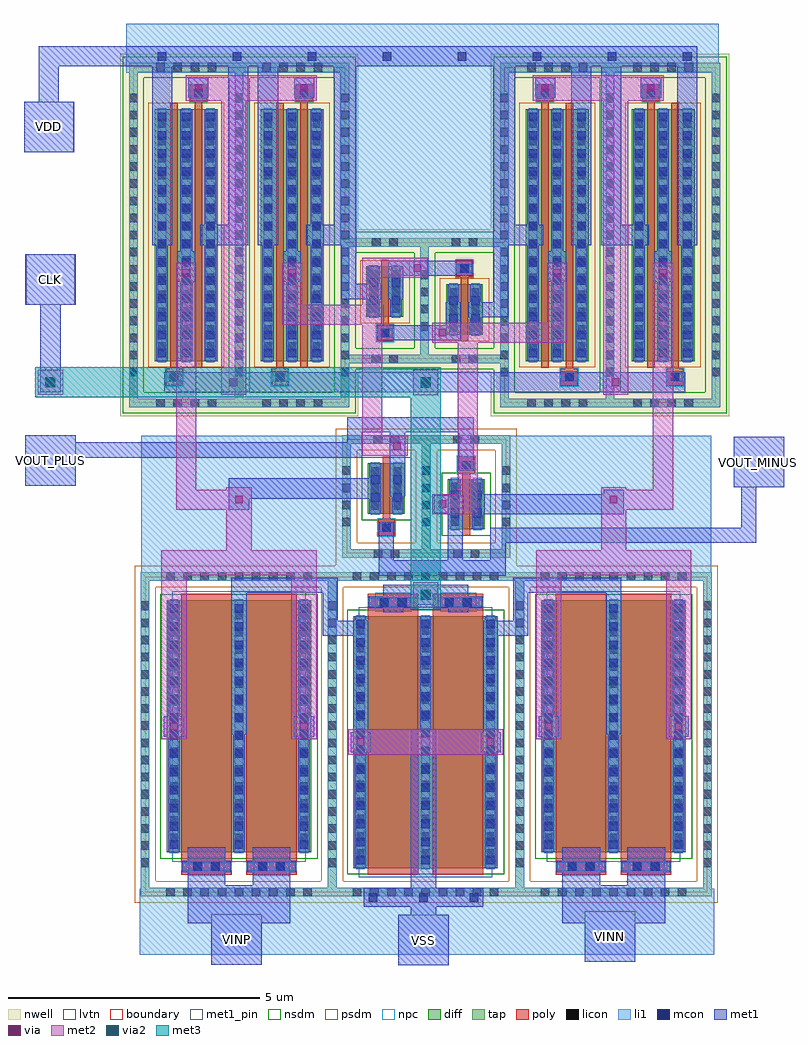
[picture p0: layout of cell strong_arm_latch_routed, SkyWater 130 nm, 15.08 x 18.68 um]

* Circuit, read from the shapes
.subckt strong_arm_latch_routed CLK VDD VINN VINP VOUT_MINUS VOUT_PLUS VSS
XM1 n1 VINP n2 VSS sky130_fd_pr__nfet_01v8_lvt w=5 l=1 m=2
XM2 VSS CLK n1 VSS sky130_fd_pr__nfet_01v8_lvt w=5 l=1 m=2
XM3 VOUT_PLUS VOUT_MINUS n2 VSS sky130_fd_pr__nfet_01v8 w=1 l=0.15
XM4 n3 VOUT_PLUS VOUT_MINUS VSS sky130_fd_pr__nfet_01v8 w=1 l=0.15
XM5 n1 VINN n3 VSS sky130_fd_pr__nfet_01v8_lvt w=5 l=1 m=2
XM6 n2 CLK VDD VDD sky130_fd_pr__pfet_01v8 w=5 l=0.15 m=2
XM7 VOUT_PLUS CLK VDD VDD sky130_fd_pr__pfet_01v8 w=5 l=0.15 m=2
XM8 VOUT_PLUS VOUT_MINUS VDD VDD sky130_fd_pr__pfet_01v8 w=1 l=0.15
XM9 VDD VOUT_PLUS VOUT_MINUS VDD sky130_fd_pr__pfet_01v8 w=1 l=0.15
XM10 VOUT_MINUS CLK VDD VDD sky130_fd_pr__pfet_01v8 w=5 l=0.15 m=2
XM11 n3 CLK VDD VDD sky130_fd_pr__pfet_01v8 w=5 l=0.15 m=2
.ends

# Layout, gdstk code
from math import pi, radians
import gdstk
lib = gdstk.Library(unit=1e-6, precision=1e-09)
def R(c, l, rs):  # rectangles x0, y0, x1, y1
    for r in rs: c.add(gdstk.rectangle(r[:2], r[2:], *l))
def A(c, l, x, y, w, h, nx, ny, dx, dy):  # array of equal rectangles
    R(c, l, [(x+i*dx, y+j*dy, x+i*dx+w, y+j*dy+h) for i in range(nx) for j in range(ny)])
nwell = (64, 20)
diff = (65, 20)
tap = (65, 44)
poly = (66, 20)
licon = (66, 44)
li1 = (67, 20)
mcon = (67, 44)
met1_pin = (68, 16)
met1 = (68, 20)
via = (68, 44)
met2 = (69, 20)
via2 = (69, 44)
met3 = (70, 20)
nsdm = (93, 44)
psdm = (94, 20)
npc = (95, 20)
lvtn = (125, 44)
boundary = (235, 4)

sky130_fd_pr__nfet_01v8_ = lib.new_cell('sky130_fd_pr__nfet_01v8_lvt_GVGYYV')
R(sky130_fd_pr__nfet_01v8_, diff, [(-1.435,-2.345,1.435,2.655)])
R(sky130_fd_pr__nfet_01v8_, tap, [(-1.945,-3.215,1.945,-3.045), (-1.945,-3.045,-1.775,3.045), (1.775,-3.045,1.945,3.045), (-1.945,3.045,1.945,3.215)])
R(sky130_fd_pr__nfet_01v8_, poly, [(-1.145,-2.785,-0.145,2.785), (0.145,-2.785,1.145,2.785)])
A(sky130_fd_pr__nfet_01v8_, licon, -1.445, -3.215, 0.17, 0.17, 9, 2, 0.34, 6.26)
A(sky130_fd_pr__nfet_01v8_, licon, -1.945, -2.635, 0.17, 0.17, 1, 16, 0, 0.34)
A(sky130_fd_pr__nfet_01v8_, licon, 1.775, -2.635, 0.17, 0.17, 1, 16, 0, 0.34)
A(sky130_fd_pr__nfet_01v8_, licon, -1.375, -2.14, 0.17, 0.17, 3, 14, 1.29, 0.34)
R(sky130_fd_pr__nfet_01v8_, licon, [(-0.9,-2.705,-0.73,-2.535), (-0.56,-2.705,-0.39,-2.535), (0.39,-2.705,0.56,-2.535), (0.73,-2.705,0.9,-2.535)])
A(sky130_fd_pr__nfet_01v8_, li1, -1.375, -2.365, 0.17, 5.04, 3, 1, 1.29, 0)
R(sky130_fd_pr__nfet_01v8_, li1, [(-1.945,-3.215,1.945,-3.045), (-1.945,-3.045,-1.775,3.045), (1.775,-3.045,1.945,3.045), (-1.145,-2.705,-0.145,-2.535), (0.145,-2.705,1.145,-2.535), (-1.945,3.045,1.945,3.215)])
A(sky130_fd_pr__nfet_01v8_, mcon, -1.375, -2.27, 0.17, 0.17, 3, 14, 1.29, 0.36)
R(sky130_fd_pr__nfet_01v8_, mcon, [(-0.91,-2.705,-0.74,-2.535), (-0.55,-2.705,-0.38,-2.535), (0.38,-2.705,0.55,-2.535), (0.74,-2.705,0.91,-2.535)])
A(sky130_fd_pr__nfet_01v8_, met1, -1.405, -2.345, 0.23, 5, 3, 1, 1.29, 0)
R(sky130_fd_pr__nfet_01v8_, met1, [(-1.125,-2.735,-0.165,-2.505), (0.165,-2.735,1.125,-2.505)])
R(sky130_fd_pr__nfet_01v8_, nsdm, [(-1.56,-2.47,1.56,2.78)])
R(sky130_fd_pr__nfet_01v8_, psdm, [(-2.07,-3.34,2.07,-2.92), (-2.07,-2.92,-1.65,2.92), (1.65,-2.92,2.07,2.92), (-2.07,2.92,2.07,3.34)])
R(sky130_fd_pr__nfet_01v8_, npc, [(-1,-2.805,-0.29,-2.435), (0.29,-2.805,1,-2.435)])
R(sky130_fd_pr__nfet_01v8_, lvtn, [(-1.325,-2.525,1.325,2.835)])
R(sky130_fd_pr__nfet_01v8_, boundary, [(-1.86,-3.13,1.86,3.13)])

c_sky130_fd_pr__nfet_01v8_ = lib.new_cell('sky130_fd_pr__nfet_01v8_lvt_URSRNG')
R(c_sky130_fd_pr__nfet_01v8_, diff, [(-1.435,-2.655,1.435,2.345)])
R(c_sky130_fd_pr__nfet_01v8_, tap, [(-1.945,-3.215,1.945,-3.045), (-1.945,-3.045,-1.775,3.045), (1.775,-3.045,1.945,3.045), (-1.945,3.045,1.945,3.215)])
R(c_sky130_fd_pr__nfet_01v8_, poly, [(-1.145,-2.785,-0.145,2.785), (0.145,-2.785,1.145,2.785)])
A(c_sky130_fd_pr__nfet_01v8_, licon, -1.445, -3.215, 0.17, 0.17, 9, 2, 0.34, 6.26)
A(c_sky130_fd_pr__nfet_01v8_, licon, -1.375, -2.45, 0.17, 0.17, 3, 14, 1.29, 0.34)
R(c_sky130_fd_pr__nfet_01v8_, licon, [(-0.9,2.535,-0.73,2.705), (-0.56,2.535,-0.39,2.705), (0.39,2.535,0.56,2.705), (0.73,2.535,0.9,2.705)])
A(c_sky130_fd_pr__nfet_01v8_, li1, -1.375, -2.675, 0.17, 5.04, 3, 1, 1.29, 0)
R(c_sky130_fd_pr__nfet_01v8_, li1, [(-1.945,-3.215,1.945,-3.045), (-1.945,-3.045,-1.775,3.045), (1.775,-3.045,1.945,3.045), (-1.145,2.535,-0.145,2.705), (0.145,2.535,1.145,2.705), (-1.945,3.045,1.945,3.215)])
A(c_sky130_fd_pr__nfet_01v8_, mcon, -1.375, -2.58, 0.17, 0.17, 3, 14, 1.29, 0.36)
R(c_sky130_fd_pr__nfet_01v8_, mcon, [(-0.91,2.535,-0.74,2.705), (-0.55,2.535,-0.38,2.705), (0.38,2.535,0.55,2.705), (0.74,2.535,0.91,2.705)])
A(c_sky130_fd_pr__nfet_01v8_, met1, -1.405, -2.655, 0.23, 5, 3, 1, 1.29, 0)
R(c_sky130_fd_pr__nfet_01v8_, met1, [(-1.125,2.505,-0.165,2.735), (0.165,2.505,1.125,2.735)])
R(c_sky130_fd_pr__nfet_01v8_, nsdm, [(-1.56,-2.78,1.56,2.47)])
R(c_sky130_fd_pr__nfet_01v8_, psdm, [(-2.07,-3.34,2.07,-2.92), (-2.07,-2.92,-1.65,2.92), (1.65,-2.92,2.07,2.92), (-2.07,2.92,2.07,3.34)])
R(c_sky130_fd_pr__nfet_01v8_, npc, [(-1,2.435,-0.29,2.805), (0.29,2.435,1,2.805)])
R(c_sky130_fd_pr__nfet_01v8_, lvtn, [(-1.325,-2.835,1.325,2.525)])
R(c_sky130_fd_pr__nfet_01v8_, boundary, [(-1.86,-3.13,1.86,3.13)])

c_sky130_fd_pr__nfet_01v8__ = lib.new_cell('sky130_fd_pr__nfet_01v8_CQH6Q5')
R(c_sky130_fd_pr__nfet_01v8__, diff, [(-0.365,-0.345,0.365,0.655)])
R(c_sky130_fd_pr__nfet_01v8__, tap, [(-0.875,-1.215,0.875,-1.045), (-0.875,-1.045,-0.705,1.045), (0.705,-1.045,0.875,1.045), (-0.875,1.045,0.875,1.215)])
R(c_sky130_fd_pr__nfet_01v8__, poly, [(-0.165,-0.785,0.165,-0.455), (-0.075,-0.455,0.075,0.785)])
A(c_sky130_fd_pr__nfet_01v8__, licon, -0.875, -0.595, 0.17, 0.17, 1, 4, 0, 0.34)
A(c_sky130_fd_pr__nfet_01v8__, licon, 0.705, -0.595, 0.17, 0.17, 1, 4, 0, 0.34)
A(c_sky130_fd_pr__nfet_01v8__, licon, -0.305, -0.27, 0.17, 0.17, 1, 3, 0, 0.34)
A(c_sky130_fd_pr__nfet_01v8__, licon, 0.135, -0.27, 0.17, 0.17, 1, 3, 0, 0.34)
R(c_sky130_fd_pr__nfet_01v8__, licon, [(-0.255,-1.215,-0.085,-1.045), (0.085,-1.215,0.255,-1.045), (-0.085,-0.705,0.085,-0.535), (-0.255,1.045,-0.085,1.215), (0.085,1.045,0.255,1.215)])
R(c_sky130_fd_pr__nfet_01v8__, li1, [(-0.875,-1.215,0.875,-1.045), (-0.875,-1.045,-0.705,1.045), (0.705,-1.045,0.875,1.045), (-0.165,-0.705,0.165,-0.535), (-0.305,-0.365,-0.135,0.675), (0.135,-0.365,0.305,0.675), (-0.875,1.045,0.875,1.215)])
R(c_sky130_fd_pr__nfet_01v8__, mcon, [(-0.085,-0.705,0.085,-0.535), (-0.305,-0.11,-0.135,0.06), (0.135,-0.11,0.305,0.06), (-0.305,0.25,-0.135,0.42), (0.135,0.25,0.305,0.42)])
R(c_sky130_fd_pr__nfet_01v8__, met1, [(-0.145,-0.735,0.145,-0.505), (-0.335,-0.345,-0.105,0.655), (0.105,-0.345,0.335,0.655)])
R(c_sky130_fd_pr__nfet_01v8__, nsdm, [(-0.49,-0.47,0.49,0.78)])
R(c_sky130_fd_pr__nfet_01v8__, psdm, [(-1,-1.34,1,-0.92), (-1,-0.92,-0.58,0.92), (0.58,-0.92,1,0.92), (-1,0.92,1,1.34)])
R(c_sky130_fd_pr__nfet_01v8__, npc, [(-0.185,-0.805,0.185,-0.435)])
R(c_sky130_fd_pr__nfet_01v8__, boundary, [(-0.79,-1.13,0.79,1.13)])

c_sky130_fd_pr__nfet_01v8___ = lib.new_cell('sky130_fd_pr__nfet_01v8_WXMB3T')
R(c_sky130_fd_pr__nfet_01v8___, diff, [(-0.365,-0.655,0.365,0.345)])
R(c_sky130_fd_pr__nfet_01v8___, tap, [(-0.875,-1.215,0.875,-1.045), (-0.875,-1.045,-0.705,1.045), (0.705,-1.045,0.875,1.045), (-0.875,1.045,0.875,1.215)])
R(c_sky130_fd_pr__nfet_01v8___, poly, [(-0.075,-0.785,0.075,0.455), (-0.165,0.455,0.165,0.785)])
A(c_sky130_fd_pr__nfet_01v8___, licon, 0.705, -0.595, 0.17, 0.17, 1, 4, 0, 0.34)
A(c_sky130_fd_pr__nfet_01v8___, licon, -0.305, -0.58, 0.17, 0.17, 1, 3, 0, 0.34)
A(c_sky130_fd_pr__nfet_01v8___, licon, 0.135, -0.58, 0.17, 0.17, 1, 3, 0, 0.34)
R(c_sky130_fd_pr__nfet_01v8___, licon, [(-0.255,-1.215,-0.085,-1.045), (0.085,-1.215,0.255,-1.045), (-0.085,0.535,0.085,0.705), (-0.255,1.045,-0.085,1.215), (0.085,1.045,0.255,1.215)])
R(c_sky130_fd_pr__nfet_01v8___, li1, [(-0.875,-1.215,0.875,-1.045), (-0.875,-1.045,-0.705,1.045), (0.705,-1.045,0.875,1.045), (-0.305,-0.675,-0.135,0.365), (0.135,-0.675,0.305,0.365), (-0.165,0.535,0.165,0.705), (-0.875,1.045,0.875,1.215)])
R(c_sky130_fd_pr__nfet_01v8___, mcon, [(-0.305,-0.42,-0.135,-0.25), (0.135,-0.42,0.305,-0.25), (-0.305,-0.06,-0.135,0.11), (0.135,-0.06,0.305,0.11), (-0.085,0.535,0.085,0.705)])
R(c_sky130_fd_pr__nfet_01v8___, met1, [(-0.335,-0.655,-0.105,0.345), (0.105,-0.655,0.335,0.345), (-0.145,0.505,0.145,0.735)])
R(c_sky130_fd_pr__nfet_01v8___, nsdm, [(-0.49,-0.78,0.49,0.47)])
R(c_sky130_fd_pr__nfet_01v8___, psdm, [(-1,-1.34,1,-0.92), (-1,-0.92,-0.58,0.92), (0.58,-0.92,1,0.92), (-1,0.92,1,1.34)])
R(c_sky130_fd_pr__nfet_01v8___, npc, [(-0.185,0.435,0.185,0.805)])
R(c_sky130_fd_pr__nfet_01v8___, boundary, [(-0.79,-1.13,0.79,1.13)])

sky130_fd_pr__pfet_01v8_ = lib.new_cell('sky130_fd_pr__pfet_01v8_CZ2BPM')
R(sky130_fd_pr__pfet_01v8_, nwell, [(-1.055,-1.42,1.055,1.42)])
R(sky130_fd_pr__pfet_01v8_, diff, [(-0.365,-0.32,0.365,0.68)])
R(sky130_fd_pr__pfet_01v8_, tap, [(-0.875,-1.24,0.875,-1.07), (-0.875,-1.07,-0.705,1.07), (0.705,-1.07,0.875,1.07), (-0.875,1.07,0.875,1.24)])
R(sky130_fd_pr__pfet_01v8_, poly, [(-0.165,-0.805,0.165,-0.475), (-0.075,-0.475,0.075,0.81)])
A(sky130_fd_pr__pfet_01v8_, licon, 0.705, -0.595, 0.17, 0.17, 1, 4, 0, 0.34)
A(sky130_fd_pr__pfet_01v8_, licon, -0.305, -0.245, 0.17, 0.17, 1, 3, 0, 0.34)
A(sky130_fd_pr__pfet_01v8_, licon, 0.135, -0.245, 0.17, 0.17, 1, 3, 0, 0.34)
R(sky130_fd_pr__pfet_01v8_, licon, [(-0.255,-1.24,-0.085,-1.07), (0.085,-1.24,0.255,-1.07), (-0.085,-0.725,0.085,-0.555), (-0.255,1.07,-0.085,1.24), (0.085,1.07,0.255,1.24)])
R(sky130_fd_pr__pfet_01v8_, li1, [(-0.875,-1.24,0.875,-1.07), (-0.875,-1.07,-0.705,1.07), (0.705,-1.07,0.875,1.07), (-0.165,-0.725,0.165,-0.555), (-0.305,-0.34,-0.135,0.7), (0.135,-0.34,0.305,0.7), (-0.875,1.07,0.875,1.24)])
R(sky130_fd_pr__pfet_01v8_, mcon, [(-0.085,-0.725,0.085,-0.555), (-0.305,-0.085,-0.135,0.085), (0.135,-0.085,0.305,0.085), (-0.305,0.275,-0.135,0.445), (0.135,0.275,0.305,0.445)])
R(sky130_fd_pr__pfet_01v8_, met1, [(-0.145,-0.755,0.145,-0.525), (-0.335,-0.32,-0.105,0.68), (0.105,-0.32,0.335,0.68)])
R(sky130_fd_pr__pfet_01v8_, nsdm, [(-1,-1.365,1,-0.945), (-1,-0.945,-0.58,0.945), (0.58,-0.945,1,0.945), (-1,0.945,1,1.365)])
R(sky130_fd_pr__pfet_01v8_, psdm, [(-0.49,-0.445,0.49,0.805)])
R(sky130_fd_pr__pfet_01v8_, npc, [(-0.185,-0.825,0.185,-0.455)])
R(sky130_fd_pr__pfet_01v8_, boundary, [(-0.79,-1.155,0.79,1.155)])

c_sky130_fd_pr__pfet_01v8_ = lib.new_cell('sky130_fd_pr__pfet_01v8_7PVLUA')
R(c_sky130_fd_pr__pfet_01v8_, nwell, [(-1.315,-3.595,1.315,3.595)])
R(c_sky130_fd_pr__pfet_01v8_, diff, [(-0.625,-2.5,0.625,2.5)])
R(c_sky130_fd_pr__pfet_01v8_, tap, [(-1.135,-3.415,1.135,-3.245), (-1.135,-3.245,-0.965,3.245), (0.965,-3.245,1.135,3.245), (-1.135,3.245,1.135,3.415)])
R(c_sky130_fd_pr__pfet_01v8_, poly, [(-0.405,-2.985,-0.075,-2.655), (-0.315,-2.655,-0.165,2.63), (0.165,-2.63,0.315,2.655), (0.075,2.655,0.405,2.985)])
A(c_sky130_fd_pr__pfet_01v8_, licon, -0.595, -3.415, 0.17, 0.17, 4, 2, 0.34, 6.66)
A(c_sky130_fd_pr__pfet_01v8_, licon, -1.135, -2.805, 0.17, 0.17, 1, 17, 0, 0.34)
A(c_sky130_fd_pr__pfet_01v8_, licon, 0.965, -2.805, 0.17, 0.17, 1, 17, 0, 0.34)
A(c_sky130_fd_pr__pfet_01v8_, licon, -0.565, -2.295, 0.17, 0.17, 3, 14, 0.48, 0.34)
R(c_sky130_fd_pr__pfet_01v8_, licon, [(-0.325,-2.905,-0.155,-2.735), (0.155,2.735,0.325,2.905)])
A(c_sky130_fd_pr__pfet_01v8_, li1, -0.565, -2.52, 0.17, 5.04, 3, 1, 0.48, 0)
R(c_sky130_fd_pr__pfet_01v8_, li1, [(-1.135,-3.415,1.135,-3.245), (-1.135,-3.245,-0.965,3.245), (0.965,-3.245,1.135,3.245), (-0.405,-2.905,-0.075,-2.735), (0.075,2.735,0.405,2.905), (-1.135,3.245,1.135,3.415)])
A(c_sky130_fd_pr__pfet_01v8_, mcon, -0.565, -2.425, 0.17, 0.17, 3, 14, 0.48, 0.36)
R(c_sky130_fd_pr__pfet_01v8_, mcon, [(-0.325,-2.905,-0.155,-2.735), (0.155,2.735,0.325,2.905)])
A(c_sky130_fd_pr__pfet_01v8_, met1, -0.595, -2.5, 0.23, 5, 3, 1, 0.48, 0)
R(c_sky130_fd_pr__pfet_01v8_, met1, [(-0.385,-2.935,-0.095,-2.705), (0.095,2.705,0.385,2.935)])
R(c_sky130_fd_pr__pfet_01v8_, nsdm, [(-1.26,-3.54,1.26,-3.12), (-1.26,-3.12,-0.84,3.12), (0.84,-3.12,1.26,3.12), (-1.26,3.12,1.26,3.54)])
R(c_sky130_fd_pr__pfet_01v8_, psdm, [(-0.75,-2.625,0.75,2.625)])
R(c_sky130_fd_pr__pfet_01v8_, npc, [(-0.425,-3.005,-0.055,-2.635), (0.055,2.635,0.425,3.005)])
R(c_sky130_fd_pr__pfet_01v8_, boundary, [(-1.05,-3.33,1.05,3.33)])

c_sky130_fd_pr__pfet_01v8__ = lib.new_cell('sky130_fd_pr__pfet_01v8_MV5BJT')
R(c_sky130_fd_pr__pfet_01v8__, nwell, [(-1.315,-3.595,1.315,3.595)])
R(c_sky130_fd_pr__pfet_01v8__, diff, [(-0.625,-2.5,0.625,2.5)])
R(c_sky130_fd_pr__pfet_01v8__, tap, [(-1.135,-3.415,1.135,-3.245), (-1.135,-3.245,-0.965,3.245), (0.965,-3.245,1.135,3.245), (-1.135,3.245,1.135,3.415)])
R(c_sky130_fd_pr__pfet_01v8__, poly, [(-0.405,-2.985,-0.075,-2.655), (-0.315,-2.655,-0.165,2.63), (0.165,-2.63,0.315,2.655), (0.075,2.655,0.405,2.985)])
A(c_sky130_fd_pr__pfet_01v8__, licon, -0.595, -3.415, 0.17, 0.17, 4, 2, 0.34, 6.66)
A(c_sky130_fd_pr__pfet_01v8__, licon, -1.135, -2.805, 0.17, 0.17, 1, 17, 0, 0.34)
A(c_sky130_fd_pr__pfet_01v8__, licon, 0.965, -2.805, 0.17, 0.17, 1, 17, 0, 0.34)
A(c_sky130_fd_pr__pfet_01v8__, licon, -0.565, -2.295, 0.17, 0.17, 3, 14, 0.48, 0.34)
R(c_sky130_fd_pr__pfet_01v8__, licon, [(-0.325,-2.905,-0.155,-2.735), (0.155,2.735,0.325,2.905)])
A(c_sky130_fd_pr__pfet_01v8__, li1, -0.565, -2.52, 0.17, 5.04, 3, 1, 0.48, 0)
R(c_sky130_fd_pr__pfet_01v8__, li1, [(-1.135,-3.415,1.135,-3.245), (-1.135,-3.245,-0.965,3.245), (0.965,-3.245,1.135,3.245), (-0.405,-2.905,-0.075,-2.735), (0.075,2.735,0.405,2.905), (-1.135,3.245,1.135,3.415)])
A(c_sky130_fd_pr__pfet_01v8__, mcon, -0.565, -2.425, 0.17, 0.17, 3, 14, 0.48, 0.36)
R(c_sky130_fd_pr__pfet_01v8__, mcon, [(-0.325,-2.905,-0.155,-2.735), (0.155,2.735,0.325,2.905)])
A(c_sky130_fd_pr__pfet_01v8__, met1, -0.595, -2.5, 0.23, 5, 3, 1, 0.48, 0)
R(c_sky130_fd_pr__pfet_01v8__, met1, [(-0.385,-2.935,-0.095,-2.705), (0.095,2.705,0.385,2.935)])
R(c_sky130_fd_pr__pfet_01v8__, nsdm, [(-1.26,-3.54,1.26,-3.12), (-1.26,-3.12,-0.84,3.12), (0.84,-3.12,1.26,3.12), (-1.26,3.12,1.26,3.54)])
R(c_sky130_fd_pr__pfet_01v8__, psdm, [(-0.75,-2.625,0.75,2.625)])
R(c_sky130_fd_pr__pfet_01v8__, npc, [(-0.425,-3.005,-0.055,-2.635), (0.055,2.635,0.425,3.005)])
R(c_sky130_fd_pr__pfet_01v8__, boundary, [(-1.05,-3.33,1.05,3.33)])

c_sky130_fd_pr__pfet_01v8___ = lib.new_cell('sky130_fd_pr__pfet_01v8_NRXS53')
R(c_sky130_fd_pr__pfet_01v8___, nwell, [(-1.055,-1.42,1.055,1.42)])
R(c_sky130_fd_pr__pfet_01v8___, diff, [(-0.365,-0.68,0.365,0.32)])
R(c_sky130_fd_pr__pfet_01v8___, tap, [(-0.875,-1.24,0.875,-1.07), (-0.875,-1.07,-0.705,1.07), (0.705,-1.07,0.875,1.07), (-0.875,1.07,0.875,1.24)])
R(c_sky130_fd_pr__pfet_01v8___, poly, [(-0.075,-0.81,0.075,0.475), (-0.165,0.475,0.165,0.805)])
A(c_sky130_fd_pr__pfet_01v8___, licon, -0.305, -0.605, 0.17, 0.17, 1, 3, 0, 0.34)
A(c_sky130_fd_pr__pfet_01v8___, licon, 0.135, -0.605, 0.17, 0.17, 1, 3, 0, 0.34)
A(c_sky130_fd_pr__pfet_01v8___, licon, -0.875, -0.595, 0.17, 0.17, 1, 4, 0, 0.34)
R(c_sky130_fd_pr__pfet_01v8___, licon, [(-0.255,-1.24,-0.085,-1.07), (0.085,-1.24,0.255,-1.07), (-0.085,0.555,0.085,0.725), (-0.255,1.07,-0.085,1.24), (0.085,1.07,0.255,1.24)])
R(c_sky130_fd_pr__pfet_01v8___, li1, [(-0.875,-1.24,0.875,-1.07), (-0.875,-1.07,-0.705,1.07), (0.705,-1.07,0.875,1.07), (-0.305,-0.7,-0.135,0.34), (0.135,-0.7,0.305,0.34), (-0.165,0.555,0.165,0.725), (-0.875,1.07,0.875,1.24)])
R(c_sky130_fd_pr__pfet_01v8___, mcon, [(-0.305,-0.445,-0.135,-0.275), (0.135,-0.445,0.305,-0.275), (-0.305,-0.085,-0.135,0.085), (0.135,-0.085,0.305,0.085), (-0.085,0.555,0.085,0.725)])
R(c_sky130_fd_pr__pfet_01v8___, met1, [(-0.335,-0.68,-0.105,0.32), (0.105,-0.68,0.335,0.32), (-0.145,0.525,0.145,0.755)])
R(c_sky130_fd_pr__pfet_01v8___, nsdm, [(-1,-1.365,1,-0.945), (-1,-0.945,-0.58,0.945), (0.58,-0.945,1,0.945), (-1,0.945,1,1.365)])
R(c_sky130_fd_pr__pfet_01v8___, psdm, [(-0.49,-0.805,0.49,0.445)])
R(c_sky130_fd_pr__pfet_01v8___, npc, [(-0.185,0.455,0.185,0.825)])
R(c_sky130_fd_pr__pfet_01v8___, boundary, [(-0.79,-1.155,0.79,1.155)])

strong_arm_latch_routed = lib.new_cell('strong_arm_latch_routed')
R(strong_arm_latch_routed, li1, [(4.8,-16.6,16.2,-15.3), (8.85,-9.16,12.16,-9.1), (4.83,-9.1,16.14,-8.57), (4.83,-8.57,8.96,-6.31), (12,-8.57,16.14,-6.31), (8.78,-2.5,12.08,0.9), (4.53,0.9,16.29,1.87)])
A(strong_arm_latch_routed, mcon, 9.345, -15.55, 0.17, 0.17, 3, 1, 1, 0)
A(strong_arm_latch_routed, mcon, 6.645, 1.135, 0.17, 0.17, 3, 1, 1.49, 0)
A(strong_arm_latch_routed, mcon, 11.11, 1.135, 0.17, 0.17, 4, 1, 1.49, 0)
R(strong_arm_latch_routed, mcon, [(5.16,1.135,5.33,1.305)])
R(strong_arm_latch_routed, met1_pin, [(9.93,-16.815,10.93,-15.815), (6.225,-16.8,7.225,-15.8), (13.63,-16.745,14.63,-15.745), (16.585,-7.33,17.585,-6.33), (2.53,-7.3,3.53,-6.3), (2.55,-3.71,3.515,-2.71), (2.505,-0.68,3.49,0.32)])
R(strong_arm_latch_routed, met1, [(9.93,-16.815,10.93,-15.815), (6.225,-16.8,7.225,-15.975), (13.63,-16.745,14.63,-15.975), (5.75,-15.975,7.79,-15.225), (13.185,-15.975,15.225,-15.225), (10.18,-15.815,10.68,-15.65), (9.245,-15.65,11.615,-15.28), (10.18,-15.28,10.68,-12.135), (5.75,-15.225,6.5,-14.475), (7.04,-15.225,7.79,-14.475), (13.185,-15.225,13.935,-14.475), (14.475,-15.225,15.225,-14.475), (8.985,-12.585,9.385,-12.185), (11.565,-12.585,11.965,-12.185), (5.28,-12.275,5.68,-11.875), (7.86,-12.275,8.26,-11.875), (12.715,-12.275,13.115,-11.875), (15.295,-12.275,15.695,-11.875), (6.62,-12.225,6.92,-9.425), (14.055,-12.225,14.355,-9.425), (9.035,-12.185,9.335,-10.275), (11.615,-12.185,11.915,-10.275), (8.435,-10.275,9.335,-9.975), (11.615,-10.275,12.515,-9.975), (8.435,-9.975,8.735,-9.425), (12.215,-9.975,12.515,-9.425), (9.63,-9.81,10.03,-9.66), (10.92,-9.81,11.32,-9.66), (9.63,-9.66,11.32,-9.26), (6.62,-9.425,8.735,-9.125), (12.215,-9.425,14.355,-9.125), (9.545,-9.08,12.06,-8.78), (9.545,-8.78,9.845,-8.18), (10.91,-8.78,11.21,-7.84), (11.76,-8.78,12.06,-8.43), (11.76,-8.43,17.035,-8.13), (16.735,-8.13,17.035,-7.33), (11.55,-7.865,14.405,-7.465), (10.635,-7.84,11.235,-7.49), (6.57,-7.775,6.97,-7.555), (6.57,-7.555,9.425,-7.155), (9.765,-7.505,10.065,-6.24), (14.005,-7.465,14.405,-7.375), (16.585,-7.33,17.585,-6.33), (2.53,-7.3,3.53,-6.74), (11.13,-6.84,11.43,-6.24), (2.53,-6.74,9.215,-6.44), (2.53,-6.44,3.53,-6.3), (8.915,-6.44,9.215,-6.24), (8.915,-6.24,11.43,-5.94), (2.83,-5.445,3.23,-3.71), (5.285,-5.445,15.625,-5.045), (9.515,-4.415,11.175,-4.115), (10.875,-4.115,11.175,-3.655), (11.315,-3.955,12.115,-3.655), (2.53,-3.71,3.53,-2.71), (11.815,-3.655,12.115,-2.525), (8.795,-3.595,9.595,-3.295), (9.735,-3.595,10.035,-3.135), (8.795,-3.295,9.095,-2.525), (5.55,-3.25,5.9,-2.65), (7.65,-3.25,8,-2.65), (12.91,-3.25,13.26,-2.65), (15.01,-3.25,15.36,-2.65), (9.735,-3.135,11.395,-2.835), (5.045,-2.525,5.445,1.02), (6.005,-2.525,6.955,-2.125), (7.145,-2.525,7.545,1.02), (8.105,-2.525,9.095,-2.125), (11.815,-2.525,12.805,-2.125), (13.365,-2.525,13.765,1.02), (13.955,-2.525,14.905,-2.125), (15.465,-2.525,15.865,1.02), (6.555,-2.125,6.955,1.02), (8.655,-2.125,9.095,1.02), (11.815,-2.125,12.255,1.02), (13.955,-2.125,14.355,1.02), (2.505,-0.68,3.505,0.32), (2.795,0.32,3.195,1.02), (5.765,0.395,6.165,0.795), (7.865,0.395,8.265,0.795), (12.645,0.395,13.045,0.795), (14.745,0.395,15.145,0.795), (2.795,1.02,15.865,1.42)])
R(strong_arm_latch_routed, via, [(9.11,-12.46,9.26,-12.31), (11.69,-12.46,11.84,-12.31), (5.405,-12.15,5.555,-12), (7.985,-12.15,8.135,-12), (12.84,-12.15,12.99,-12), (15.42,-12.15,15.57,-12), (10.4,-9.535,10.55,-9.385), (10.73,-7.74,10.88,-7.59), (6.695,-7.65,6.845,-7.5), (14.13,-7.65,14.28,-7.5), (9.835,-6.58,9.985,-6.43), (10.4,-5.325,10.55,-5.175), (2.955,-5.32,3.105,-5.17), (6.59,-5.32,6.74,-5.17), (14.17,-5.32,14.32,-5.17), (10.73,-4.335,10.88,-4.185), (5.645,-3.15,5.795,-3), (7.745,-3.15,7.895,-3), (13.005,-3.15,13.155,-3), (15.105,-3.15,15.255,-3), (10.235,-3.05,10.385,-2.9), (5.89,0.52,6.04,0.67), (7.99,0.52,8.14,0.67), (12.77,0.52,12.92,0.67), (14.87,0.52,15.02,0.67)])
R(strong_arm_latch_routed, met2, [(8.935,-12.635,12.015,-12.135), (5.23,-12.325,5.73,-9.075), (7.81,-12.325,8.31,-9.075), (12.665,-12.325,13.165,-9.075), (15.245,-12.325,15.745,-9.075), (10.225,-9.71,10.725,-9.21), (5.23,-9.075,8.31,-8.575), (12.665,-9.075,15.745,-8.575), (6.52,-8.575,7.02,-7.775), (13.955,-8.575,14.455,-7.775), (10.61,-7.865,11.51,-7.465), (5.525,-7.775,7.02,-7.375), (13.955,-7.775,15.385,-7.375), (11.11,-7.465,11.51,-4.465), (5.525,-7.375,5.925,-2.875), (6.52,-7.375,7.02,-7.325), (13.955,-7.375,14.455,-7.325), (14.985,-7.375,15.385,-2.875), (9.215,-6.705,10.115,-6.305), (9.215,-6.305,9.615,-4.105), (10.225,-5.5,10.725,-5), (2.78,-5.495,3.28,-4.995), (6.415,-5.495,6.915,0.345), (13.995,-5.495,14.495,0.345), (11.11,-4.465,13.285,-4.46), (10.61,-4.46,13.285,-4.065), (7.625,-4.105,9.645,-3.705), (10.61,-4.065,11.51,-4.06), (12.885,-4.065,13.285,-2.875), (7.625,-3.705,8.025,-2.875), (9.215,-3.705,9.615,-3.175), (9.215,-3.175,10.515,-2.775), (5.715,0.345,8.315,0.845), (12.595,0.345,15.195,0.845)])
R(strong_arm_latch_routed, via2, [(10.375,-9.56,10.575,-9.36), (10.375,-5.35,10.575,-5.15), (2.93,-5.345,3.13,-5.145)])
R(strong_arm_latch_routed, met3, [(10.175,-9.76,10.775,-5.545), (2.73,-5.545,10.775,-4.95), (2.73,-4.95,10.755,-4.945)])
R(strong_arm_latch_routed, psdm, [(8.695,-8.89,12.28,-8.85)])
strong_arm_latch_routed.add(gdstk.Reference(sky130_fd_pr__nfet_01v8_, (6.77,-12.23)))
strong_arm_latch_routed.add(gdstk.Reference(c_sky130_fd_pr__nfet_01v8_, (10.475,-12.23)))
strong_arm_latch_routed.add(gdstk.Reference(c_sky130_fd_pr__nfet_01v8__, (9.695,-7.51)))
strong_arm_latch_routed.add(gdstk.Reference(sky130_fd_pr__nfet_01v8_, (14.205,-12.23)))
strong_arm_latch_routed.add(gdstk.Reference(c_sky130_fd_pr__nfet_01v8___, (11.28,-7.51)))
strong_arm_latch_routed.add(gdstk.Reference(sky130_fd_pr__pfet_01v8_, (9.665,-3.625)))
strong_arm_latch_routed.add(gdstk.Reference(c_sky130_fd_pr__pfet_01v8_, (7.825,-2.325)))
strong_arm_latch_routed.add(gdstk.Reference(c_sky130_fd_pr__pfet_01v8__, (5.725,-2.325)))
strong_arm_latch_routed.add(gdstk.Reference(c_sky130_fd_pr__pfet_01v8___, (11.245,-3.625)))
strong_arm_latch_routed.add(gdstk.Reference(c_sky130_fd_pr__pfet_01v8__, (13.085,-2.325), rotation=pi, x_reflection=True))
strong_arm_latch_routed.add(gdstk.Reference(c_sky130_fd_pr__pfet_01v8__, (15.185,-2.325), rotation=pi, x_reflection=True))
strong_arm_latch_routed.add(gdstk.Label('VDD', (2.997,-0.18), layer=68, texttype=5))
strong_arm_latch_routed.add(gdstk.Label('CLK', (3.032,-3.21), layer=68, texttype=5))
strong_arm_latch_routed.add(gdstk.Label('VOUT_PLUS', (3.03,-6.8), layer=68, texttype=5))
strong_arm_latch_routed.add(gdstk.Label('VOUT_MINUS', (17.085,-6.83), layer=68, texttype=5))
strong_arm_latch_routed.add(gdstk.Label('VSS', (10.43,-16.315), layer=68, texttype=5))
strong_arm_latch_routed.add(gdstk.Label('VINP', (6.725,-16.3), layer=68, texttype=5))
strong_arm_latch_routed.add(gdstk.Label('VINN', (14.13,-16.245), layer=68, texttype=5))

lib.write_gds('strong_arm_latch_routed.gds')
